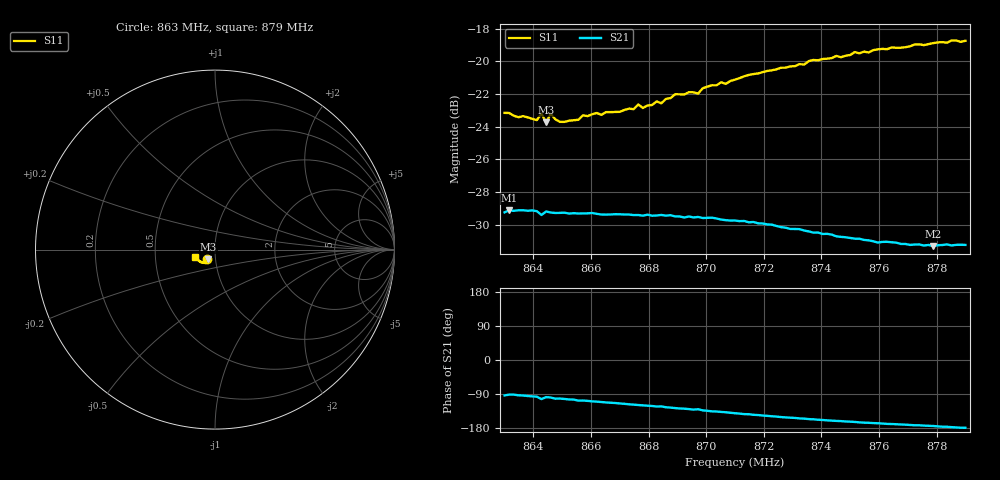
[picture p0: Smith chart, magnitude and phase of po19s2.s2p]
# HZ S RI R 50
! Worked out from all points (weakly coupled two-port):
!   101 points, 863 MHz to 879 MHz, reference 50 ohm
!   highest |S21| = -29.12 dB at 863.16 MHz (marker M1); lowest = -31.3 dB at 877.88 MHz (marker M2)
!   lowest |S11| = -23.7 dB at 864.44 MHz (marker M3), VSWR 1.14, Z = 46.1 - j4.92 ohm
!   |S11| at or under -10 dB: start of sweep to end of sweep
!   S12 and S22 are empty: the file has one direction only
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8.63e8  -0.0451 -0.0529  -0.00213 -0.0344  0 0  0 0
8.6316e8  -0.0436 -0.0541  -0.000774 -0.035  0 0  0 0
8.6412e8  -0.0389 -0.0534  -0.00407 -0.0345  0 0  0 0
8.6428e8  -0.0414 -0.0554  -0.0077 -0.033  0 0  0 0
8.6444e8  -0.0376 -0.0531  -0.00482 -0.0344  0 0  0 0
8.646e8  -0.0402 -0.0562  -0.00537 -0.034  0 0  0 0
8.6492e8  -0.0361 -0.0544  -0.00696 -0.0336  0 0  0 0
8.6556e8  -0.0365 -0.0553  -0.0102 -0.0327  0 0  0 0
8.6572e8  -0.0354 -0.0584  -0.00997 -0.0327  0 0  0 0
8.6748e8  -0.0336 -0.063  -0.0158 -0.0299  0 0  0 0
8.6764e8  -0.0359 -0.0645  -0.0163 -0.0297  0 0  0 0
8.678e8  -0.0352 -0.0628  -0.0167 -0.0293  0 0  0 0
8.6828e8  -0.0366 -0.0659  -0.0183 -0.0284  0 0  0 0
8.6844e8  -0.0386 -0.0636  -0.0182 -0.0286  0 0  0 0
8.6892e8  -0.0386 -0.0693  -0.0201 -0.0268  0 0  0 0
8.6972e8  -0.0373 -0.0704  -0.0214 -0.0256  0 0  0 0
8.6988e8  -0.042 -0.0712  -0.0226 -0.0242  0 0  0 0
8.71e8  -0.0494 -0.0728  -0.0251 -0.0207  0 0  0 0
8.7372e8  -0.0691 -0.0737  -0.0274 -0.0119  0 0  0 0
8.7644e8  -0.0917 -0.0613  -0.0274 -0.00534  0 0  0 0
8.7788e8  -0.1025 -0.0492  -0.027 -0.00279  0 0  0 0
8.79e8  -0.1087 -0.0393  -0.0274 -0.000495  0 0  0 0
